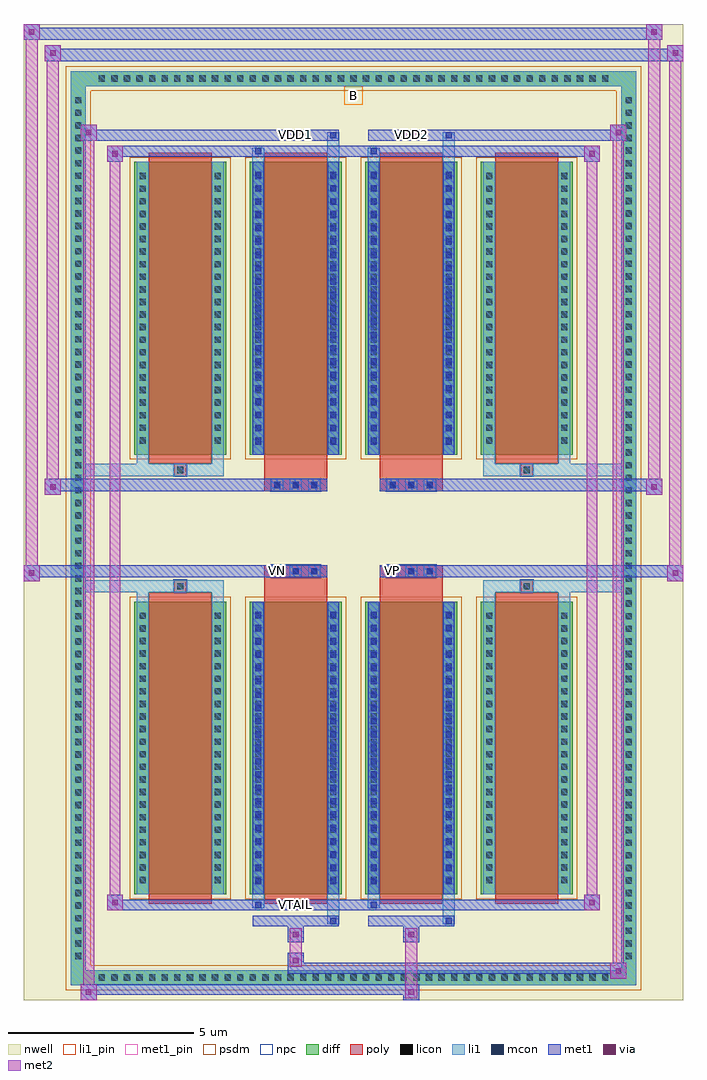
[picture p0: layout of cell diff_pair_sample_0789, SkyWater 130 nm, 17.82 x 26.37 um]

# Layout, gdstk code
import gdstk
lib = gdstk.Library(unit=1e-6, precision=5e-09)
def R(c, l, rs):  # rectangles x0, y0, x1, y1
    for r in rs: c.add(gdstk.rectangle(r[:2], r[2:], *l))
def A(c, l, x, y, w, h, nx, ny, dx, dy):  # array of equal rectangles
    R(c, l, [(x+i*dx, y+j*dy, x+i*dx+w, y+j*dy+h) for i in range(nx) for j in range(ny)])
def P(c, l, *ps):  # polygons
    for p in ps: c.add(gdstk.Polygon(p, *l))
nwell = (64, 20)
diff = (65, 20)
poly = (66, 20)
licon = (66, 44)
li1_pin = (67, 16)
li1 = (67, 20)
mcon = (67, 44)
met1_pin = (68, 16)
met1 = (68, 20)
via = (68, 44)
met2 = (69, 20)
psdm = (94, 20)
npc = (95, 20)

diff_pair_sample_0789 = lib.new_cell('diff_pair_sample_0789')
R(diff_pair_sample_0789, nwell, [(-8.91,-12.75,8.91,13.62), (-6.23,-10.94,-0.01,-0.8), (0.01,-10.94,6.23,-0.8), (-6.23,0.8,-0.01,10.94), (0.01,0.8,6.23,10.94)])
A(diff_pair_sample_0789, diff, -7.005, -12.35, 0.41, 0.41, 41, 2, 0.34, 24.29)
A(diff_pair_sample_0789, diff, -7.64, -11.765, 0.41, 0.41, 1, 69, 0, 0.34)
A(diff_pair_sample_0789, diff, 7.23, -11.765, 0.41, 0.41, 1, 69, 0, 0.34)
A(diff_pair_sample_0789, diff, -5.92, -9.895, 2.48, 7.91, 4, 2, 3.12, 11.88)
R(diff_pair_sample_0789, diff, [(-7.005,-12.35,7.005,-11.94), (-7.64,-11.765,-7.23,11.765), (7.23,-11.765,7.64,11.765), (-7.005,11.94,7.005,12.35)])
P(diff_pair_sample_0789, diff, [(7.64,12.35),(-7.64,12.35),(-7.64,-11.94),(-7.23,-11.94),(-7.23,11.94),(7.23,11.94),(7.23,-11.94),(-7.23,-11.94),(-7.64,-11.94),(-7.64,-12.35),(7.64,-12.35)])
A(diff_pair_sample_0789, poly, -5.53, -10.145, 1.7, 8.41, 4, 2, 3.12, 11.88)
A(diff_pair_sample_0789, poly, -2.225, -1.33, 0.33, 0.33, 3, 2, 0.5, 2.33)
A(diff_pair_sample_0789, poly, 0.895, -1.33, 0.33, 0.33, 3, 2, 0.5, 2.33)
R(diff_pair_sample_0789, poly, [(-4.845,-1.735,-4.515,-1.405), (-4.845,-1.735,-4.515,-1.405), (-2.41,-1.735,-0.71,-1.33), (0.71,-1.735,2.41,-1.33), (4.515,-1.735,4.845,-1.405), (4.515,-1.735,4.845,-1.405), (-2.41,-1.33,-0.71,-1), (0.71,-1.33,2.41,-1), (-2.41,1,-0.71,1.33), (0.71,1,2.41,1.33), (-2.41,1.33,-0.71,1.735), (0.71,1.33,2.41,1.735), (-4.845,1.405,-4.515,1.735), (-4.845,1.405,-4.515,1.735), (4.515,1.405,4.845,1.735), (4.515,1.405,4.845,1.735)])
A(diff_pair_sample_0789, licon, -6.885, -12.23, 0.17, 0.17, 41, 2, 0.34, 24.29)
A(diff_pair_sample_0789, licon, -7.52, -11.645, 0.17, 0.17, 1, 69, 0, 0.34)
A(diff_pair_sample_0789, licon, 7.35, -11.645, 0.17, 0.17, 1, 69, 0, 0.34)
A(diff_pair_sample_0789, licon, -5.78, -9.595, 0.17, 0.17, 1, 22, 0, 0.34)
A(diff_pair_sample_0789, licon, -3.75, -9.595, 0.17, 0.17, 1, 22, 0, 0.34)
A(diff_pair_sample_0789, licon, -2.66, -9.595, 0.17, 0.17, 1, 22, 0, 0.34)
A(diff_pair_sample_0789, licon, -0.63, -9.595, 0.17, 0.17, 1, 22, 0, 0.34)
A(diff_pair_sample_0789, licon, 0.46, -9.595, 0.17, 0.17, 1, 22, 0, 0.34)
A(diff_pair_sample_0789, licon, 2.49, -9.595, 0.17, 0.17, 1, 22, 0, 0.34)
A(diff_pair_sample_0789, licon, 3.58, -9.595, 0.17, 0.17, 1, 22, 0, 0.34)
A(diff_pair_sample_0789, licon, 5.61, -9.595, 0.17, 0.17, 1, 22, 0, 0.34)
A(diff_pair_sample_0789, licon, -2.145, -1.25, 0.17, 0.17, 3, 2, 0.5, 2.33)
A(diff_pair_sample_0789, licon, 0.975, -1.25, 0.17, 0.17, 3, 2, 0.5, 2.33)
A(diff_pair_sample_0789, licon, -5.78, 2.285, 0.17, 0.17, 1, 22, 0, 0.34)
A(diff_pair_sample_0789, licon, -3.75, 2.285, 0.17, 0.17, 1, 22, 0, 0.34)
A(diff_pair_sample_0789, licon, -2.66, 2.285, 0.17, 0.17, 1, 22, 0, 0.34)
A(diff_pair_sample_0789, licon, -0.63, 2.285, 0.17, 0.17, 1, 22, 0, 0.34)
A(diff_pair_sample_0789, licon, 0.46, 2.285, 0.17, 0.17, 1, 22, 0, 0.34)
A(diff_pair_sample_0789, licon, 2.49, 2.285, 0.17, 0.17, 1, 22, 0, 0.34)
A(diff_pair_sample_0789, licon, 3.58, 2.285, 0.17, 0.17, 1, 22, 0, 0.34)
A(diff_pair_sample_0789, licon, 5.61, 2.285, 0.17, 0.17, 1, 22, 0, 0.34)
R(diff_pair_sample_0789, licon, [(-4.765,-1.655,-4.595,-1.485), (4.595,-1.655,4.765,-1.485), (-4.765,1.485,-4.595,1.655), (4.595,1.485,4.765,1.655)])
R(diff_pair_sample_0789, li1_pin, [(-0.25,11.44,0.25,11.94)])
A(diff_pair_sample_0789, li1, -6.965, -12.31, 0.33, 0.33, 41, 2, 0.34, 24.29)
A(diff_pair_sample_0789, li1, -7.6, -11.725, 0.33, 0.33, 1, 69, 0, 0.34)
A(diff_pair_sample_0789, li1, 7.27, -11.725, 0.33, 0.33, 1, 69, 0, 0.34)
A(diff_pair_sample_0789, li1, -5.86, -9.675, 0.33, 0.33, 1, 22, 0, 0.34)
A(diff_pair_sample_0789, li1, -3.83, -9.675, 0.33, 0.33, 1, 22, 0, 0.34)
A(diff_pair_sample_0789, li1, -2.74, -9.675, 0.33, 0.33, 1, 22, 0, 0.34)
A(diff_pair_sample_0789, li1, -0.71, -9.675, 0.33, 0.33, 1, 22, 0, 0.34)
A(diff_pair_sample_0789, li1, 0.38, -9.675, 0.33, 0.33, 1, 22, 0, 0.34)
A(diff_pair_sample_0789, li1, 2.41, -9.675, 0.33, 0.33, 1, 22, 0, 0.34)
A(diff_pair_sample_0789, li1, 3.5, -9.675, 0.33, 0.33, 1, 22, 0, 0.34)
A(diff_pair_sample_0789, li1, 5.53, -9.675, 0.33, 0.33, 1, 22, 0, 0.34)
A(diff_pair_sample_0789, li1, -2.66, -9.625, 0.17, 0.17, 1, 21, 0, 0.36)
A(diff_pair_sample_0789, li1, -0.63, -9.625, 0.17, 0.17, 1, 21, 0, 0.36)
A(diff_pair_sample_0789, li1, 0.46, -9.625, 0.17, 0.17, 1, 21, 0, 0.36)
A(diff_pair_sample_0789, li1, 2.49, -9.625, 0.17, 0.17, 1, 21, 0, 0.36)
A(diff_pair_sample_0789, li1, -2.225, -1.33, 0.33, 0.33, 3, 2, 0.5, 2.33)
A(diff_pair_sample_0789, li1, 0.895, -1.33, 0.33, 0.33, 3, 2, 0.5, 2.33)
A(diff_pair_sample_0789, li1, -5.86, 2.205, 0.33, 0.33, 1, 22, 0, 0.34)
A(diff_pair_sample_0789, li1, -3.83, 2.205, 0.33, 0.33, 1, 22, 0, 0.34)
A(diff_pair_sample_0789, li1, -2.74, 2.205, 0.33, 0.33, 1, 22, 0, 0.34)
A(diff_pair_sample_0789, li1, -0.71, 2.205, 0.33, 0.33, 1, 22, 0, 0.34)
A(diff_pair_sample_0789, li1, 0.38, 2.205, 0.33, 0.33, 1, 22, 0, 0.34)
A(diff_pair_sample_0789, li1, 2.41, 2.205, 0.33, 0.33, 1, 22, 0, 0.34)
A(diff_pair_sample_0789, li1, 3.5, 2.205, 0.33, 0.33, 1, 22, 0, 0.34)
A(diff_pair_sample_0789, li1, 5.53, 2.205, 0.33, 0.33, 1, 22, 0, 0.34)
A(diff_pair_sample_0789, li1, -2.66, 2.255, 0.17, 0.17, 1, 21, 0, 0.36)
A(diff_pair_sample_0789, li1, -0.63, 2.255, 0.17, 0.17, 1, 21, 0, 0.36)
A(diff_pair_sample_0789, li1, 0.46, 2.255, 0.17, 0.17, 1, 21, 0, 0.36)
A(diff_pair_sample_0789, li1, 2.49, 2.255, 0.17, 0.17, 1, 21, 0, 0.36)
R(diff_pair_sample_0789, li1, [(-7.64,-12.35,-7.23,-11.94), (-7.64,-12.35,-7.23,-11.94), (-7.23,-12.35,7.23,-11.94), (7.23,-12.35,7.64,-11.94), (7.23,-12.35,7.64,-11.94), (-7.64,-11.94,-7.23,11.94), (7.23,-11.94,7.64,11.94), (-0.71,-10.7,-0.38,-9.895), (-0.63,-10.7,-0.46,-10.53), (2.41,-10.7,2.74,-9.895), (2.49,-10.7,2.66,-10.53), (-2.74,-10.27,-2.41,-9.895), (-2.66,-10.27,-2.49,-10.1), (0.38,-10.27,0.71,-9.895), (0.46,-10.27,0.63,-10.1), (-5.86,-9.895,-5.53,-1.985), (-3.83,-9.895,-3.5,-1.985), (-2.74,-9.895,-2.41,-1.985), (-0.71,-9.895,-0.38,-1.985), (0.38,-9.895,0.71,-1.985), (2.41,-9.895,2.74,-1.985), (3.5,-9.895,3.83,-1.985), (5.53,-9.895,5.86,-1.985), (-2.66,-9.625,-2.49,-2.255), (-0.63,-9.625,-0.46,-2.255), (0.46,-9.625,0.63,-2.255), (2.49,-9.625,2.66,-2.255), (-5.86,-1.985,-5.53,-1.405), (-3.83,-1.985,-3.5,-1.405), (3.5,-1.985,3.83,-1.405), (5.53,-1.985,5.86,-1.405), (-7.64,-1.735,-4.845,-1.405), (-5.86,-1.735,-4.845,-1.405), (-4.845,-1.735,-4.515,-1.405), (-4.515,-1.735,-3.5,-1.405), (3.5,-1.735,4.515,-1.405), (4.515,-1.735,4.845,-1.405), (4.515,-1.735,7.64,-1.405), (4.845,-1.735,5.86,-1.405), (-7.64,1.405,-4.845,1.735), (-5.86,1.405,-4.845,1.735), (-5.86,1.405,-5.53,1.985), (-4.845,1.405,-4.515,1.735), (-4.515,1.405,-3.5,1.735), (-3.83,1.405,-3.5,1.985), (3.5,1.405,4.515,1.735), (3.5,1.405,3.83,1.985), (4.515,1.405,4.845,1.735), (4.515,1.405,7.64,1.735), (4.845,1.405,5.86,1.735), (5.53,1.405,5.86,1.985), (-5.86,1.985,-5.53,9.895), (-3.83,1.985,-3.5,9.895), (-2.74,1.985,-2.41,9.895), (-0.71,1.985,-0.38,9.895), (0.38,1.985,0.71,9.895), (2.41,1.985,2.74,9.895), (3.5,1.985,3.83,9.895), (5.53,1.985,5.86,9.895), (-2.66,2.255,-2.49,9.625), (-0.63,2.255,-0.46,9.625), (0.46,2.255,0.63,9.625), (2.49,2.255,2.66,9.625), (-2.74,9.895,-2.41,10.27), (-0.71,9.895,-0.38,10.7), (0.38,9.895,0.71,10.27), (2.41,9.895,2.74,10.7), (-2.66,10.1,-2.49,10.27), (0.46,10.1,0.63,10.27), (-0.63,10.53,-0.46,10.7), (2.49,10.53,2.66,10.7), (-7.64,11.94,-7.23,12.35), (-7.64,11.94,-7.23,12.35), (-7.23,11.94,7.23,12.35), (7.23,11.94,7.64,12.35), (7.23,11.94,7.64,12.35)])
A(diff_pair_sample_0789, mcon, -2.66, -9.625, 0.17, 0.17, 1, 21, 0, 0.36)
A(diff_pair_sample_0789, mcon, -0.63, -9.625, 0.17, 0.17, 1, 21, 0, 0.36)
A(diff_pair_sample_0789, mcon, 0.46, -9.625, 0.17, 0.17, 1, 21, 0, 0.36)
A(diff_pair_sample_0789, mcon, 2.49, -9.625, 0.17, 0.17, 1, 21, 0, 0.36)
A(diff_pair_sample_0789, mcon, -2.145, -1.25, 0.17, 0.17, 3, 2, 0.5, 2.33)
A(diff_pair_sample_0789, mcon, 0.975, -1.25, 0.17, 0.17, 3, 2, 0.5, 2.33)
A(diff_pair_sample_0789, mcon, -2.66, 2.255, 0.17, 0.17, 1, 21, 0, 0.36)
A(diff_pair_sample_0789, mcon, -0.63, 2.255, 0.17, 0.17, 1, 21, 0, 0.36)
A(diff_pair_sample_0789, mcon, 0.46, 2.255, 0.17, 0.17, 1, 21, 0, 0.36)
A(diff_pair_sample_0789, mcon, 2.49, 2.255, 0.17, 0.17, 1, 21, 0, 0.36)
R(diff_pair_sample_0789, mcon, [(-0.63,-10.7,-0.46,-10.53), (2.49,-10.7,2.66,-10.53), (-2.66,-10.27,-2.49,-10.1), (0.46,-10.27,0.63,-10.1), (-2.66,10.1,-2.49,10.27), (0.46,10.1,0.63,10.27), (-0.63,10.53,-0.46,10.7), (2.49,10.53,2.66,10.7)])
R(diff_pair_sample_0789, met1_pin, [(-1.695,-10.31,-1.425,-10.04), (-2.195,-1.29,-1.925,-1.02), (0.925,-1.29,1.195,-1.02), (-1.695,10.49,-1.425,10.76), (1.425,10.49,1.695,10.76)])
A(diff_pair_sample_0789, met1, -2.72, -9.685, 0.29, 0.29, 1, 21, 0, 0.36)
A(diff_pair_sample_0789, met1, -0.69, -9.685, 0.29, 0.29, 1, 21, 0, 0.36)
A(diff_pair_sample_0789, met1, 0.4, -9.685, 0.29, 0.29, 1, 21, 0, 0.36)
A(diff_pair_sample_0789, met1, 2.43, -9.685, 0.29, 0.29, 1, 21, 0, 0.36)
A(diff_pair_sample_0789, met1, -2.205, -1.31, 0.29, 0.29, 3, 2, 0.5, 2.33)
A(diff_pair_sample_0789, met1, 0.915, -1.31, 0.29, 0.29, 3, 2, 0.5, 2.33)
A(diff_pair_sample_0789, met1, -2.72, 2.195, 0.29, 0.29, 1, 21, 0, 0.36)
A(diff_pair_sample_0789, met1, -0.69, 2.195, 0.29, 0.29, 1, 21, 0, 0.36)
A(diff_pair_sample_0789, met1, 0.4, 2.195, 0.29, 0.29, 1, 21, 0, 0.36)
A(diff_pair_sample_0789, met1, 2.43, 2.195, 0.29, 0.29, 1, 21, 0, 0.36)
R(diff_pair_sample_0789, met1, [(-7.37,-12.75,-6.94,-12.32), (1.345,-12.75,1.775,-12.32), (-7.37,-12.61,1.775,-12.32), (6.94,-12.18,7.37,-11.75), (-1.775,-12.04,7.37,-11.75), (-1.775,-11.9,-1.345,-11.47), (-1.775,-11.19,-1.345,-10.76), (1.345,-11.19,1.775,-10.76), (-2.72,-10.76,-0.4,-10.47), (-0.69,-10.76,-0.4,-10.47), (0.4,-10.76,2.72,-10.47), (2.43,-10.76,2.72,-10.47), (-6.66,-10.33,-6.23,-9.9), (-6.66,-10.33,-2.72,-10.04), (-2.72,-10.33,-2.43,-10.04), (-2.72,-10.33,-0.4,-10.04), (-0.4,-10.33,0.4,-10.04), (0.4,-10.33,0.69,-10.04), (0.4,-10.33,2.72,-10.04), (2.72,-10.33,6.66,-10.04), (6.23,-10.33,6.66,-9.9), (-2.72,-9.895,-2.43,-1.985), (-0.69,-9.895,-0.4,-1.985), (0.4,-9.895,0.69,-1.985), (2.43,-9.895,2.72,-1.985), (-8.91,-1.43,-8.48,-1), (8.48,-1.43,8.91,-1), (-8.91,-1.33,-0.71,-1), (-2.41,-1.33,-0.71,-1), (0.71,-1.33,2.41,-1), (0.71,-1.33,8.91,-1), (-8.34,0.9,-7.91,1.33), (7.91,0.9,8.34,1.33), (-8.34,1,-2.41,1.33), (-2.41,1,-0.71,1.33), (0.71,1,2.41,1.33), (2.41,1,8.34,1.33), (-2.72,1.985,-2.43,9.895), (-0.69,1.985,-0.4,9.895), (0.4,1.985,0.69,9.895), (2.43,1.985,2.72,9.895), (-6.66,9.9,-6.23,10.33), (6.23,9.9,6.66,10.33), (-6.66,10.04,-2.72,10.33), (-2.72,10.04,-2.43,10.33), (-2.72,10.04,-0.4,10.33), (-0.4,10.04,0.4,10.33), (0.4,10.04,0.69,10.33), (0.4,10.04,2.72,10.33), (2.72,10.04,6.66,10.33), (-7.37,10.47,-6.94,10.9), (-7.37,10.47,-2.72,10.76), (-2.72,10.47,-0.4,10.76), (-0.69,10.47,-0.4,10.76), (0.4,10.47,2.72,10.76), (2.43,10.47,2.72,10.76), (2.72,10.47,7.37,10.76), (6.94,10.47,7.37,10.9), (-8.34,12.62,-7.91,13.05), (-8.34,12.62,-6.23,12.95), (-6.23,12.62,6.23,12.95), (6.23,12.62,8.91,12.95), (8.48,12.62,8.91,13.05), (-8.91,13.19,-8.48,13.62), (-8.91,13.19,-6.23,13.52), (-6.23,13.19,6.23,13.52), (6.23,13.19,8.34,13.52), (7.91,13.19,8.34,13.62)])
R(diff_pair_sample_0789, via, [(-7.23,-12.61,-7.08,-12.46), (1.485,-12.61,1.635,-12.46), (7.08,-12.04,7.23,-11.89), (-1.635,-11.76,-1.485,-11.61), (-1.635,-11.05,-1.485,-10.9), (1.485,-11.05,1.635,-10.9), (-6.52,-10.19,-6.37,-10.04), (6.37,-10.19,6.52,-10.04), (-8.77,-1.29,-8.62,-1.14), (8.62,-1.29,8.77,-1.14), (-8.2,1.04,-8.05,1.19), (8.05,1.04,8.2,1.19), (-6.52,10.04,-6.37,10.19), (6.37,10.04,6.52,10.19), (-7.23,10.61,-7.08,10.76), (7.08,10.61,7.23,10.76), (-8.2,12.76,-8.05,12.91), (8.62,12.76,8.77,12.91), (-8.77,13.33,-8.62,13.48), (8.05,13.33,8.2,13.48)])
R(diff_pair_sample_0789, met2, [(-7.37,-12.75,-6.94,-12.32), (-7.3,-12.75,-7.01,10.9), (-7.01,-12.75,-6.94,-12.32), (-7.32,-12.7,-6.99,-12.37), (1.395,-12.7,1.725,-12.37), (1.395,-12.37,1.725,-11.14), (6.94,-12.18,7.37,-11.75), (7.01,-12.18,7.3,10.9), (7.3,-12.18,7.37,-11.75), (6.99,-12.13,7.32,-11.8), (-1.725,-11.85,-1.395,-11.52), (-1.725,-11.52,-1.395,-11.14), (-1.725,-11.14,-1.395,-10.81), (1.395,-11.14,1.725,-10.81), (-6.66,-10.33,-6.23,-9.9), (-6.59,-10.33,-6.3,10.33), (-6.3,-10.33,-6.23,-9.9), (6.23,-10.33,6.66,-9.9), (6.3,-10.33,6.59,10.33), (6.59,-10.33,6.66,-9.9), (-6.61,-10.28,-6.28,-9.95), (6.28,-10.28,6.61,-9.95), (-8.91,-1.43,-8.48,-1), (-8.86,-1.43,-8.53,13.62), (-8.53,-1.43,-8.48,-1), (8.48,-1.43,8.91,-1), (8.53,-1.43,8.86,13.05), (8.86,-1.43,8.91,-1), (-8.86,-1.38,-8.53,-1.05), (8.53,-1.38,8.86,-1.05), (-8.34,0.9,-7.91,1.33), (-8.29,0.9,-7.96,13.05), (-7.96,0.9,-7.91,1.33), (7.91,0.9,8.34,1.33), (7.96,0.9,8.29,13.62), (8.29,0.9,8.34,1.33), (-8.29,0.95,-7.96,1.28), (7.96,0.95,8.29,1.28), (-6.66,9.9,-6.23,10.33), (-6.3,9.9,-6.23,10.33), (6.23,9.9,6.66,10.33), (6.59,9.9,6.66,10.33), (-6.61,9.95,-6.28,10.28), (6.28,9.95,6.61,10.28), (-7.37,10.47,-6.94,10.9), (-7.01,10.47,-6.94,10.9), (6.94,10.47,7.37,10.9), (7.3,10.47,7.37,10.9), (-7.32,10.52,-6.99,10.85), (6.99,10.52,7.32,10.85), (-8.34,12.62,-7.91,13.05), (-7.96,12.62,-7.91,13.05), (8.48,12.62,8.91,13.05), (8.86,12.62,8.91,13.05), (-8.29,12.67,-7.96,13), (8.53,12.67,8.86,13), (-8.91,13.19,-8.48,13.62), (-8.53,13.19,-8.48,13.62), (7.91,13.19,8.34,13.62), (8.29,13.19,8.34,13.62), (-8.86,13.24,-8.53,13.57), (7.96,13.24,8.29,13.57)])
A(diff_pair_sample_0789, psdm, -6.05, -10.025, 2.74, 8.17, 4, 2, 3.12, 11.88)
P(diff_pair_sample_0789, psdm, [(7.77,12.48),(-7.77,12.48),(-7.77,-11.81),(-7.1,-11.81),(-7.1,11.81),(7.1,11.81),(7.1,-11.81),(-7.1,-11.81),(-7.77,-11.81),(-7.77,-12.48),(7.77,-12.48)])
A(diff_pair_sample_0789, npc, -2.245, -1.35, 0.37, 0.37, 3, 2, 0.5, 2.33)
A(diff_pair_sample_0789, npc, 0.875, -1.35, 0.37, 0.37, 3, 2, 0.5, 2.33)
R(diff_pair_sample_0789, npc, [(-4.865,-1.755,-4.495,-1.385), (4.495,-1.755,4.865,-1.385), (-2.245,-1.35,-1.375,-0.98), (-2.245,-1.35,-1.375,-0.98), (-1.745,-1.35,-0.875,-0.98), (-1.745,-1.35,-0.875,-0.98), (0.875,-1.35,1.745,-0.98), (0.875,-1.35,1.745,-0.98), (1.375,-1.35,2.245,-0.98), (1.375,-1.35,2.245,-0.98), (-2.245,0.98,-1.375,1.35), (-2.245,0.98,-1.375,1.35), (-1.745,0.98,-0.875,1.35), (-1.745,0.98,-0.875,1.35), (0.875,0.98,1.745,1.35), (0.875,0.98,1.745,1.35), (1.375,0.98,2.245,1.35), (1.375,0.98,2.245,1.35), (-4.865,1.385,-4.495,1.755), (4.495,1.385,4.865,1.755)])
diff_pair_sample_0789.add(gdstk.Label('VTAIL', (-1.56,-10.175), layer=68, texttype=5))
diff_pair_sample_0789.add(gdstk.Label('VN', (-2.06,-1.155), layer=68, texttype=5))
diff_pair_sample_0789.add(gdstk.Label('VP', (1.06,-1.155), layer=68, texttype=5))
diff_pair_sample_0789.add(gdstk.Label('B', (0,11.69), layer=67, texttype=5))
diff_pair_sample_0789.add(gdstk.Label('VDD2', (1.56,10.625), layer=68, texttype=5))
diff_pair_sample_0789.add(gdstk.Label('VDD1', (-1.56,10.625), layer=68, texttype=5))

lib.write_gds('diff_pair_sample_0789.gds')
